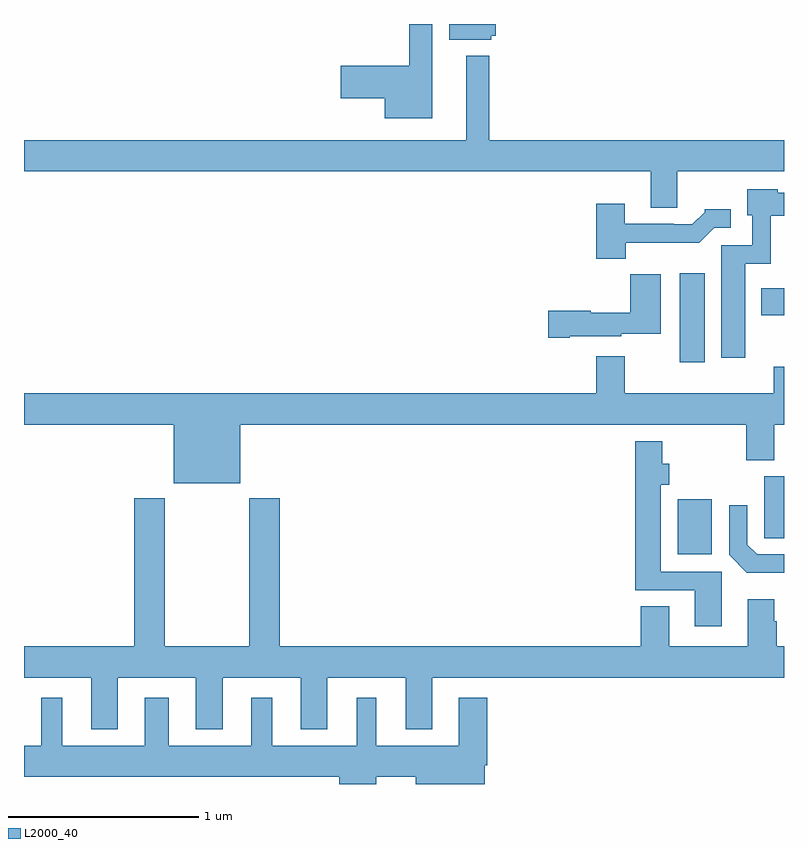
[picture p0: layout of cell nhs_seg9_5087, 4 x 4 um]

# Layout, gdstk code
import gdstk
lib = gdstk.Library(unit=1e-6, precision=1e-09)
def R(c, l, rs):  # rectangles x0, y0, x1, y1
    for r in rs: c.add(gdstk.rectangle(r[:2], r[2:], *l))
def P(c, l, *ps):  # polygons
    for p in ps: c.add(gdstk.Polygon(p, *l))
L2000_40 = (2000, 40)

nhs_seg9_5087 = lib.new_cell('nhs_seg9_5087')
R(nhs_seg9_5087, L2000_40, [(408.44,1223.708,408.619,1223.998), (408.452,1224.72,408.583,1225.189), (408.881,1224.968,409,1225.108)])
P(nhs_seg9_5087, L2000_40, [(407.149,1226.5),(407.028,1226.5),(407.028,1226.279),(406.668,1226.279),(406.668,1226.108),(406.898,1226.108),(406.898,1226.003),(407.149,1226.003)],
  [(407.46,1226.439),(407.482,1226.439),(407.482,1226.5),(407.237,1226.5),(407.237,1226.417),(407.46,1226.417)],
  [(408.439,1225.724),(409,1225.724),(409,1225.888),(407.449,1225.888),(407.449,1226.332),(407.327,1226.332),(407.327,1225.888),(405,1225.888),(405,1225.724),(408.299,1225.724),(408.299,1225.534),(408.439,1225.534)],
  [(408.796,1225.238),(408.93,1225.238),(408.93,1225.49),(409,1225.49),(409,1225.612),(408.966,1225.612),(408.966,1225.63),(408.806,1225.63),(408.806,1225.494),(408.834,1225.494),(408.834,1225.335),(408.671,1225.335),(408.671,1224.744),(408.796,1224.744)],
  [(408.166,1225.35),(408.555,1225.35),(408.633,1225.428),(408.721,1225.428),(408.721,1225.525),(408.582,1225.525),(408.582,1225.51),(408.518,1225.446),(408.419,1225.446),(408.419,1225.449),(408.163,1225.449),(408.163,1225.555),(408.011,1225.555),(408.011,1225.265),(408.166,1225.265)],
  [(407.872,1224.857),(408.144,1224.857),(408.144,1224.869),(408.352,1224.869),(408.352,1225.183),(408.19,1225.183),(408.19,1224.979),(407.982,1224.979),(407.982,1224.992),(407.76,1224.992),(407.76,1224.85),(407.872,1224.85)],
  [(406.138,1224.392),(408.802,1224.392),(408.802,1224.205),(408.949,1224.205),(408.949,1224.392),(409,1224.392),(409,1224.697),(408.947,1224.697),(408.947,1224.556),(408.163,1224.556),(408.163,1224.751),(408.011,1224.751),(408.011,1224.556),(405,1224.556),(405,1224.392),(405.788,1224.392),(405.788,1224.083),(406.138,1224.083)],
  [(408.673,1223.616),(408.352,1223.616),(408.352,1224.075),(408.397,1224.075),(408.397,1224.185),(408.36,1224.185),(408.36,1224.304),(408.218,1224.304),(408.218,1223.52),(408.53,1223.52),(408.53,1223.331),(408.673,1223.331)],
  [(409,1224.12),(408.896,1224.12),(408.896,1223.905),(408.897,1223.905),(408.897,1223.794),(409,1223.794)],
  [(405.493,1223.06),(405.905,1223.06),(405.905,1222.787),(406.045,1222.787),(406.045,1223.06),(406.457,1223.06),(406.457,1222.787),(406.597,1222.787),(406.597,1223.06),(407.009,1223.06),(407.009,1222.787),(407.149,1222.787),(407.149,1223.06),(409,1223.06),(409,1223.224),(408.962,1223.224),(408.962,1223.357),(408.949,1223.357),(408.949,1223.473),(408.809,1223.473),(408.809,1223.224),(408.397,1223.224),(408.397,1223.435),(408.245,1223.435),(408.245,1223.224),(406.346,1223.224),(406.346,1224.004),(406.186,1224.004),(406.186,1223.224),(405.741,1223.224),(405.741,1224.004),(405.581,1224.004),(405.581,1223.224),(405,1223.224),(405,1223.06),(405.353,1223.06),(405.353,1222.787),(405.493,1222.787)],
  [(409,1223.709),(408.858,1223.709),(408.807,1223.76),(408.807,1223.968),(408.711,1223.968),(408.711,1223.706),(408.805,1223.612),(409,1223.612)],
  [(406.855,1222.538),(407.063,1222.538),(407.063,1222.5),(407.425,1222.5),(407.425,1222.598),(407.438,1222.598),(407.438,1222.954),(407.288,1222.954),(407.288,1222.702),(406.855,1222.702),(406.855,1222.954),(406.751,1222.954),(406.751,1222.702),(406.306,1222.702),(406.306,1222.954),(406.196,1222.954),(406.196,1222.702),(405.763,1222.702),(405.763,1222.954),(405.635,1222.954),(405.635,1222.702),(405.202,1222.702),(405.202,1222.954),(405.092,1222.954),(405.092,1222.702),(405,1222.702),(405,1222.538),(406.658,1222.538),(406.658,1222.5),(406.855,1222.5)])

lib.write_gds('nhs_seg9_5087.gds')
